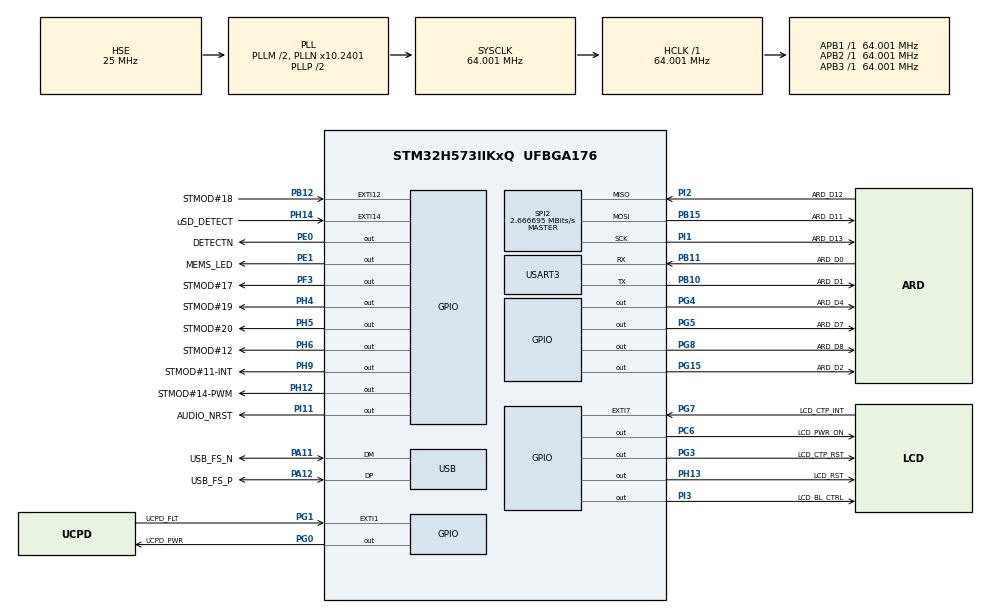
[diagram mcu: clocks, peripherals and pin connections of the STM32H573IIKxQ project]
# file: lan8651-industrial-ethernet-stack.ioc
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CORTEX_M33_NS.userName=CORTEX_M33
Mcu.Family=STM32H5
Mcu.Name=STM32H573IIKxQ
Mcu.Package=UFBGA176
NVIC.EXTI13_IRQn=true\:0\:0\:false\:false\:true\:false\:true\:true
NVIC.PriorityGroup=NVIC_PRIORITYGROUP_4
NVIC.SPI2_IRQn=true\:0\:0\:false\:false\:true\:true\:true\:true
NVIC.USART3_IRQn=true\:0\:0\:false\:false\:true\:true\:true\:true
NVIC.USB_DRD_FS_IRQn=true\:0\:0\:false\:false\:true\:true\:true\:true
PA0.GPIO_Label=ARD_A2
PA0.Signal=ADCx_INP0
PA1.GPIO_Label=RMII_REF_CLK
PA1.Signal=ETH_REF_CLK
PA10.GPIO_Label=STLK_VCP_TX
PA10.Signal=USART1_RX
PA11.GPIO_Label=USB_FS_N
PA11.Mode=Device
PA11.Signal=USB_DM
PA12.GPIO_Label=USB_FS_P
PA12.Mode=Device
PA12.Signal=USB_DP
PA13(JTMS/SWDIO).GPIO_Label=JTMS
PA13(JTMS/SWDIO).Signal=DEBUG_JTMS-SWDIO
PA14(JTCK/SWCLK).GPIO_Label=JTCK
PA14(JTCK/SWCLK).Signal=DEBUG_JTCK-SWCLK
PA15(JTDI).GPIO_Label=JTDI
PA15(JTDI).Signal=DEBUG_JTDI
PA2.GPIO_Label=RMII_MDIO
PA2.Signal=ETH_MDIO
PA3.GPIO_Label=ARD_D10
PA3.Signal=SPI2_NSS
PA4.GPIO_Label=ARD_A1
PA4.Signal=ADCx_INP18
PA5.GPIO_Label=ARD_A3
PA5.Signal=ADCx_INP19
PA6.GPIO_Label=ARD_A4
PA6.Signal=ADCx_INP3
PA7.GPIO_Label=RMII_CRS_DV
PA7.Signal=ETH_CRS_DV
PA8.GPIO_Label=ARD_D9
PA8.Signal=S_TIM1_CH1
PA9.GPIO_Label=STLK_VCP_RX
PA9.Signal=USART1_TX
PB0.GPIO_Label=ARD_A0
PB0.Signal=ADCx_INP9
PB1.GPIO_Mode=GPIO_MODE_AF_PP
PB1.GPIO_PuPd=GPIO_NOPULL
PB1.GPIO_Speed_High_Default=GPIO_SPEED_FREQ_VERY_HIGH
PB1.Signal=OCTOSPI1_IO0
PB10.GPIO_Label=ARD_D1
PB10.Mode=Asynchronous
PB10.Signal=USART3_TX
PB11.GPIO_Label=ARD_D0
PB11.Mode=Asynchronous
PB11.Signal=USART3_RX
PB12.GPIO_Label=STMOD\#18
PB12.Signal=GPXTI12
PB13.GPIO_Label=UCPD_CC1
PB13.Signal=UCPD1_CC1
PB14.GPIO_Label=UCPD_CC2
PB14.Signal=UCPD1_CC2
PB15.GPIO_Label=ARD_D11
PB15.Mode=Full_Duplex_Master
PB15.Signal=SPI2_MOSI
PB2.Signal=OCTOSPI1_DQS
PB3(JTDO/TRACESWO).GPIO_Label=SWO
PB3(JTDO/TRACESWO).Signal=DEBUG_JTDO-SWO
PB5.GPIO_Label=ARD_D3
PB5.Signal=S_TIM3_CH2
PB6.GPIO_Label=I2C1_SCL
PB6.Signal=I2C1_SCL
PB7.GPIO_Label=I2C1_SDA
PB7.Signal=I2C1_SDA
PC0.Signal=OCTOSPI1_IO7
PC1.GPIO_Label=RMII_MDC
PC1.Signal=ETH_MDC
PC10.GPIO_Label=SDIO1_D2
PC10.Signal=SDMMC1_D2
PC11.GPIO_Label=SDIO1_D3
PC11.Signal=SDMMC1_D3
PC12.GPIO_Label=SDIO1_CK
PC12.Signal=SDMMC1_CK
PC14-OSC32_IN(OSC32_IN).Signal=RCC_OSC32_IN
PC15-OSC32_OUT(OSC32_OUT).Signal=RCC_OSC32_OUT
PC2.GPIO_Mode=GPIO_MODE_AF_PP
PC2.GPIO_PuPd=GPIO_NOPULL
PC2.GPIO_Speed_High_Default=GPIO_SPEED_FREQ_VERY_HIGH
PC2.Signal=OCTOSPI1_IO2
PC3.GPIO_Label=PDM_SAI1_SD3
PC3.Signal=SAI1_D3
PC4.GPIO_Label=RMII_RXD0
PC4.Signal=ETH_RXD0
PC5.GPIO_Label=RMII_RXD1
PC5.Signal=ETH_RXD1
PC6.GPIO_Label=LCD_PWR_ON
PC6.Signal=GPIO_Output
PC7.Signal=FMC_NE1
PC8.GPIO_Label=SDIO1_D0
PC8.Signal=SDMMC1_D0
PC9.GPIO_Label=SDIO1_D1
PC9.Signal=SDMMC1_D1
PD0.GPIO_Label=LCD_D2
PD0.Signal=FMC_D2_DA2
PD1.GPIO_Label=LCD_D3
PD1.Signal=FMC_D3_DA3
PD10.GPIO_Label=LCD_D15
PD10.Signal=FMC_D15_DA15
PD11.Signal=SAI1_CK1
PD12.GPIO_Mode=GPIO_MODE_AF_PP
PD12.GPIO_PuPd=GPIO_NOPULL
PD12.GPIO_Speed_High_Default=GPIO_SPEED_FREQ_VERY_HIGH
PD12.Signal=OCTOSPI1_IO1
PD13.GPIO_Mode=GPIO_MODE_AF_PP
PD13.GPIO_PuPd=GPIO_NOPULL
PD13.GPIO_Speed_High_Default=GPIO_SPEED_FREQ_VERY_HIGH
PD13.Signal=OCTOSPI1_IO3
PD14.GPIO_Label=LCD_D0
PD14.Signal=FMC_D0_DA0
PD15.GPIO_Label=LCD_D1
PD15.Signal=FMC_D1_DA1
PD2.GPIO_Label=SDIO1_CMD
PD2.Signal=SDMMC1_CMD
PD3.GPIO_Label=LCD_TE
PD3.Signal=FMC_CLK
PD4.GPIO_Label=LCD_NOE
PD4.Signal=FMC_NOE
PD5.GPIO_Label=LCD_NWE
PD5.Signal=FMC_NWE
PD6.Signal=SAI1_SD_A
PD8.GPIO_Label=LCD_D13
PD8.Signal=FMC_D13_DA13
PD9.GPIO_Label=LCD_D14
PD9.Signal=FMC_D14_DA14
PE0.GPIO_Label=DETECTN
PE0.Signal=GPIO_Output
PE1.GPIO_Label=MEMS_LED
PE1.Signal=GPIO_Output
PE10.GPIO_Label=LCD_D7
PE10.Signal=FMC_D7_DA7
PE11.GPIO_Label=LCD_D8
PE11.Signal=FMC_D8_DA8
PE12.GPIO_Label=LCD_D9
PE12.Signal=FMC_D9_DA9
PE13.GPIO_Label=LCD_D10
PE13.Signal=FMC_D10_DA10
PE14.GPIO_Label=LCD_D11
PE14.Signal=FMC_D11_DA11
PE15.GPIO_Label=LCD_D12
PE15.Signal=FMC_D12_DA12
PE2.Signal=DEBUG_TRACECLK
PE3.GPIO_Label=TRACED0
PE3.Signal=DEBUG_TRACED0
PE4.Signal=SAI1_D2
PE5.GPIO_Label=TRACED2
PE5.Signal=DEBUG_TRACED2
PE6.GPIO_Label=TRACED3
PE6.Signal=DEBUG_TRACED3
PE7.Signal=FMC_D4_DA4
PE8.GPIO_Label=LCD_D5
PE8.Signal=FMC_D5_DA5
PE9.GPIO_Label=LCD_D6
PE9.Signal=FMC_D6_DA6
PF0.GPIO_Label=LCD_A0_RS
PF0.Signal=FMC_A0
PF10.GPIO_Mode=GPIO_MODE_AF_PP
PF10.GPIO_PuPd=GPIO_NOPULL
PF10.GPIO_Speed_High_Default=GPIO_SPEED_FREQ_VERY_HIGH
PF10.Signal=OCTOSPI1_CLK
PF11.GPIO_Label=STMOD\#13
PF11.Signal=ADC1_INP2
PF12.GPIO_Label=ARD_A5
PF12.Signal=ADC1_INP6
PF13.GPIO_Label=IBUS_SENSE
PF13.Signal=ADC2_INP2
PF14.GPIO_Label=VBUS_SENSE
PF14.Signal=ADC2_INP6
PF3.GPIO_Label=STMOD\#17
PF3.Signal=GPIO_Output
PG0.GPIO_Label=UCPD_PWR
PG0.Signal=GPIO_Output
PG1.GPIO_Label=UCPD_FLT
PG1.Signal=GPXTI1
PG10.GPIO_Label=SAI2_SD_B
PG10.Signal=SAI2_SD_B
PG11.GPIO_Label=RMII_TX_EN
PG11.Signal=ETH_TX_EN
PG12.GPIO_Label=RMII_TXD1
PG12.Signal=ETH_TXD1
PG13.GPIO_Label=RMII_TXD0
PG13.Signal=ETH_TXD0
PG14.GPIO_Label=TRACED1
PG14.Signal=DEBUG_TRACED1
PG15.GPIO_Label=ARD_D2
PG15.Signal=GPIO_Output
PG3.GPIO_Label=LCD_CTP_RST
PG3.Signal=GPIO_Output
PG4.GPIO_Label=ARD_D4
PG4.Signal=GPIO_Output
PG5.GPIO_Label=ARD_D7
PG5.Signal=GPIO_Output
PG6.GPIO_Mode=GPIO_MODE_AF_PP
PG6.GPIO_PuPd=GPIO_NOPULL
PG6.GPIO_Speed_High_Default=GPIO_SPEED_FREQ_VERY_HIGH
PG6.Signal=OCTOSPI1_NCS
PG7.GPIO_Label=LCD_CTP_INT
PG7.Signal=GPXTI7
PG8.GPIO_Label=ARD_D8
PG8.Signal=GPIO_Output
PG9.GPIO_Mode=GPIO_MODE_AF_PP
PG9.GPIO_PuPd=GPIO_NOPULL
PG9.GPIO_Speed_High_Default=GPIO_SPEED_FREQ_VERY_HIGH
PG9.Signal=OCTOSPI1_IO6
PH0-OSC_IN(PH0).Mode=HSE-DIG-External-Clock-Source
PH0-OSC_IN(PH0).Signal=RCC_OSC_IN
PH10.GPIO_Label=ARD_D6
PH10.Signal=S_TIM5_CH1
PH11.GPIO_Label=ARD_D5
PH11.Signal=S_TIM5_CH2
PH12.GPIO_Label=STMOD\#14-PWM
PH12.Signal=GPIO_Output
PH13.GPIO_Label=LCD_RST
PH13.Signal=GPIO_Output
PH14.GPIO_Label=uSD_DETECT
PH14.Signal=GPXTI14
PH2.GPIO_Mode=GPIO_MODE_AF_PP
PH2.GPIO_PuPd=GPIO_NOPULL
PH2.GPIO_Speed_High_Default=GPIO_SPEED_FREQ_VERY_HIGH
PH2.Signal=OCTOSPI1_IO4
PH3.GPIO_Mode=GPIO_MODE_AF_PP
PH3.GPIO_PuPd=GPIO_NOPULL
PH3.GPIO_Speed_High_Default=GPIO_SPEED_FREQ_VERY_HIGH
PH3.Signal=OCTOSPI1_IO5
PH4.GPIO_Label=STMOD\#19
PH4.GPIO_Speed=GPIO_SPEED_FREQ_VERY_HIGH
PH4.PinState=GPIO_PIN_SET
PH4.Signal=GPIO_Output
PH5.GPIO_Label=STMOD\#20
PH5.GPIO_Speed=GPIO_SPEED_FREQ_LOW
PH5.PinState=GPIO_PIN_SET
PH5.Signal=GPIO_Output
PH6.GPIO_Label=STMOD\#12
PH6.Signal=GPIO_Output
PH7.GPIO_Label=STMOD\#12-RST
PH7.Signal=SPI5_MISO
PH8.GPIO_Label=STMOD\#9-MISOs
PH8.Signal=SPI5_MOSI
PH9.GPIO_Label=STMOD\#11-INT
PH9.Signal=GPIO_Output
PI1.GPIO_Label=ARD_D13
PI1.Mode=Full_Duplex_Master
PI1.Signal=SPI2_SCK
PI10.GPIO_Label=RMII_RX_ER
PI10.Signal=ETH_RX_ER
PI11.GPIO_Label=AUDIO_NRST
PI11.Signal=GPIO_Output
PI2.GPIO_Label=ARD_D12
PI2.Mode=Full_Duplex_Master
PI2.Signal=SPI2_MISO
PI3.GPIO_Label=LCD_BL_CTRL
PI3.Signal=GPIO_Output
PI4.GPIO_Label=SAI2_MCLK_A
PI4.Signal=SAI2_MCLK_A
PI5.GPIO_Label=SAI2_SCK_A
PI5.Signal=SAI2_SCK_A
PI6.GPIO_Label=SAI2_SD_A
PI6.Signal=SAI2_SD_A
PI7.GPIO_Label=SAI2_FS_A
PI7.Signal=SAI2_FS_A
ProjectManager.HeapSize=0x200
ProjectManager.StackSize=0x400
ProjectManager.TargetToolchain=STM32CubeIDE
RCC.ADCFreq_Value=64000701.904296875
RCC.AHBFreq_Value=64000701.904296875
RCC.APB1Freq_Value=64000701.904296875
RCC.APB1TimFreq_Value=64000701.904296875
RCC.APB2Freq_Value=64000701.904296875
RCC.APB2TimFreq_Value=64000701.904296875
RCC.APB3Freq_Value=64000701.904296875
RCC.CSI_VALUE=4000000
RCC.CortexFreq_Value=64000701.904296875
RCC.EPOD_VALUE=25000000
RCC.HCLKFreq_Value=64000701.904296875
RCC.HSE_VALUE=25000000
RCC.HSI48_VALUE=48000000
RCC.HSIDiv=RCC_HSI_DIV1
RCC.HSI_VALUE=64000000
RCC.LSE_VALUE=32768
RCC.LSIRC_VALUE=32000
RCC.PLL1Q=3
RCC.PLL2FRACN=0
RCC.PLL2N=32
RCC.PLL2P=1
RCC.PLLFRACN=1967
RCC.PLLM=2
RCC.PLLN=10
RCC.PLLSourceVirtual=RCC_PLL1_SOURCE_HSE
RCC.SYSCLKFreq_VALUE=64000701.904296875
RCC.SYSCLKSource=RCC_SYSCLKSOURCE_PLLCLK
RCC.USBFreq_Value=48000000
RCC.VCOOutputFreq_Value=128001403.80859375
SH.ADCx_INP0.0=ADC1_INP0
SH.ADCx_INP18.0=ADC1_INP18
SH.ADCx_INP19.0=ADC1_INP19
SH.ADCx_INP3.0=ADC1_INP3
SH.ADCx_INP9.0=ADC1_INP9
SH.FMC_A0.0=FMC_A0
SH.FMC_CLK.0=FMC_CLK
SH.FMC_D0_DA0.0=FMC_D0
SH.FMC_D10_DA10.0=FMC_D10
SH.FMC_D11_DA11.0=FMC_D11
SH.FMC_D12_DA12.0=FMC_D12
SH.FMC_D13_DA13.0=FMC_D13
SH.FMC_D14_DA14.0=FMC_D14
SH.FMC_D15_DA15.0=FMC_D15
SH.FMC_D1_DA1.0=FMC_D1
SH.FMC_D2_DA2.0=FMC_D2
SH.FMC_D3_DA3.0=FMC_D3
SH.FMC_D4_DA4.0=FMC_D4
SH.FMC_D5_DA5.0=FMC_D5
SH.FMC_D6_DA6.0=FMC_D6
SH.FMC_D7_DA7.0=FMC_D7
SH.FMC_D8_DA8.0=FMC_D8
SH.FMC_D9_DA9.0=FMC_D9
SH.FMC_NOE.0=FMC_NOE
SH.FMC_NWE.0=FMC_NWE
SH.S_TIM1_CH1.0=TIM1_CH1
SH.S_TIM3_CH2.0=TIM3_CH2
SH.S_TIM5_CH1.0=TIM5_CH1
SH.S_TIM5_CH2.0=TIM5_CH2
SPI2.BaudRatePrescaler=SPI_BAUDRATEPRESCALER_16
SPI2.CalculateBaudRate=2.666695 MBits/s
SPI2.DataSize=SPI_DATASIZE_8BIT
SPI2.Direction=SPI_DIRECTION_2LINES
SPI2.Mode=SPI_MODE_MASTER
SPI2.VirtualType=VM_MASTER
STM32H573I-DK.BUTTON=1
STM32H573I-DK.LD1=true
STM32H573I-DK.LD2=true
STM32H573I-DK.LD3=true
STM32H573I-DK.LD4=true
USART3.VirtualMode-Asynchronous=VM_ASYNC
USB.VirtualMode=Device_Only
VP_BOOTPATH_VS_BOOTPATH.Mode=BP_Activate
VP_CORTEX_M33_NS_VS_Hclk.Mode=Hclk_Mode
VP_MEMORYMAP_VS_MEMORYMAP.Mode=CurAppReg
VP_PWR_VS_LPOM.Mode=PowerOptimisation
VP_PWR_VS_SECSignals.Mode=Security/Privilege
VP_STM32H573I-DK_VS_BSP_COMMON.Mode=COMMON
board=STM32H573I-DK

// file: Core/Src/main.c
/* USER CODE BEGIN Header */
/**
  ******************************************************************************
  * @file           : main.c
  * @brief          : Main program body
  ******************************************************************************
  * @attention
  *
  * Copyright (c) 2026 STMicroelectronics.
  * All rights reserved.
  *
  * This software is licensed under terms that can be found in the LICENSE file
  * in the root directory of this software component.
  * If no LICENSE file comes with this software, it is provided AS-IS.
  *
  ******************************************************************************
  */
/* USER CODE END Header */
#include "main.h"
#include "spi.h"
#include "usart.h"
#include "usb.h"
#include "gpio.h"

/* USER CODE BEGIN Includes */
#include "tc6.h"
#include "tc6_port_stm32.h"
#include <stdio.h>
#include <string.h>
#include "tc6-regs.h"
#include "tusb.h"
#include "diag_stats.h"
/* USER CODE END Includes */

/* USER CODE BEGIN PV */
TC6_t *tc6;
uint8_t tud_network_mac_address[6] = {0x02, 0x12, 0x34, 0x56, 0x78, 0x9A};

/* USER CODE END PV */

void SystemClock_Config(void);
static void Device_HardReset(void);

/* USER CODE BEGIN 0 */

void LAN8651_Reset()
{
	   HAL_GPIO_WritePin(GPIOH,GPIO_PIN_4, GPIO_PIN_SET);

	   HAL_GPIO_WritePin(GPIOH,GPIO_PIN_5, GPIO_PIN_RESET);

	   HAL_Delay(10);

	   HAL_GPIO_WritePin(GPIOH,GPIO_PIN_5, GPIO_PIN_SET);

	   HAL_Delay(50);
}

void TC6_BringUp()
{
    tc6 = TC6_Init(NULL);

    if(tc6==NULL)
    {

        while(1);
    }

    uint8_t mac[6]={0x02, 0x12, 0x34, 0x56, 0x78, 0x9A};

    TC6Regs_Init(
            tc6,
            NULL,
            mac,
            true,   // PLCA enable
            1,      // node id
            3,      // node count
            0,
            0,
            false,
			false,
			false);

}

void TinyUsb_init()
{

    tusb_rhport_init_t dev_init =
    {
        .role  = TUSB_ROLE_DEVICE,
        .speed = TUSB_SPEED_FULL
    };

    tusb_init(0, &dev_init);
}
/* USER CODE END 0 */

int main(void)
{

  /* MCU Configuration--------------------------------------------------------*/

  /* Reset of all peripherals, Initializes the Flash interface and the Systick. */
  HAL_Init();

  /* Configure the system clock */
  SystemClock_Config();

  /* Initialize all configured peripherals */
  MX_GPIO_Init();
  MX_SPI2_Init();
  MX_USART3_UART_Init();
  MX_USB_PCD_Init();

  /* Initialize leds */
  BSP_LED_Init(LED_GREEN);
  BSP_LED_Init(LED_ORANGE);
  BSP_LED_Init(LED_RED);
  BSP_LED_Init(LED_BLUE);

  /* Initialize USER push-button, will be used to trigger an interrupt each time it's pressed.*/
  BSP_PB_Init(BUTTON_USER, BUTTON_MODE_EXTI);

   /* =====================================================
      LAN8651 RESET SEQUENCE
   ===================================================== */

  LAN8651_Reset();
  /* ---------- TC6 INIT ---------- */

  TC6_BringUp();

  DIAG_Init(tc6);
  DIAG_EnableCollisionDetect(true);  // recommended when PLCA active
  DIAG_EnablePLCACounters();

  /* ---------- TinyUSB INIT ---------- */
  TinyUsb_init();

      while (1)
      {
        /* ===============================
         RUN TC6 ENGINE & TINY USB SERVICE CONTINUOUSLY
         ===============================*/
    	 tud_task();
    	 TC6_Service(tc6,false);
    	 DIAG_Task();

    	 extern bool g_diag_reinit_needed;
    	    if (g_diag_reinit_needed)
    	    {
    	        g_diag_reinit_needed = false;
    	        Device_HardReset();
    	    }

    	    /* Manual reset via HID command (CMD_HARD_RESET = 0x11) */
    	  extern bool g_hid_reset_requested;
    	    if (g_hid_reset_requested)
    	    {
    	        g_hid_reset_requested = false;
    	        Device_HardReset();
    	    }

      }
  /* USER CODE END 3 */
}

static void Device_HardReset(void)
{

    HAL_Delay(10);        // let UART finish transmitting
    NVIC_SystemReset();   // full MCU reset — equivalent to pressing NRST
}

void SystemClock_Config(void)
{
  RCC_OscInitTypeDef RCC_OscInitStruct = {0};
  RCC_ClkInitTypeDef RCC_ClkInitStruct = {0};

  /** Configure the main internal regulator output voltage
  */
  __HAL_PWR_VOLTAGESCALING_CONFIG(PWR_REGULATOR_VOLTAGE_SCALE3);

  while(!__HAL_PWR_GET_FLAG(PWR_FLAG_VOSRDY)) {}

  /** Initializes the RCC Oscillators according to the specified parameters
  * in the RCC_OscInitTypeDef structure.
  */
  RCC_OscInitStruct.OscillatorType = RCC_OSCILLATORTYPE_HSI48|RCC_OSCILLATORTYPE_HSE;
  RCC_OscInitStruct.HSEState = RCC_HSE_BYPASS_DIGITAL;
  RCC_OscInitStruct.HSI48State = RCC_HSI48_ON;
  RCC_OscInitStruct.PLL.PLLState = RCC_PLL_ON;
  RCC_OscInitStruct.PLL.PLLSource = RCC_PLL1_SOURCE_HSE;
  RCC_OscInitStruct.PLL.PLLM = 2;
  RCC_OscInitStruct.PLL.PLLN = 10;
  RCC_OscInitStruct.PLL.PLLP = 2;
  RCC_OscInitStruct.PLL.PLLQ = 3;
  RCC_OscInitStruct.PLL.PLLR = 2;
  RCC_OscInitStruct.PLL.PLLRGE = RCC_PLL1_VCIRANGE_3;
  RCC_OscInitStruct.PLL.PLLVCOSEL = RCC_PLL1_VCORANGE_WIDE;
  RCC_OscInitStruct.PLL.PLLFRACN = 1967;
  if (HAL_RCC_OscConfig(&RCC_OscInitStruct) != HAL_OK)
  {
    Error_Handler();
  }

  /** Initializes the CPU, AHB and APB buses clocks
  */
  RCC_ClkInitStruct.ClockType = RCC_CLOCKTYPE_HCLK|RCC_CLOCKTYPE_SYSCLK
                              |RCC_CLOCKTYPE_PCLK1|RCC_CLOCKTYPE_PCLK2
                              |RCC_CLOCKTYPE_PCLK3;
  RCC_ClkInitStruct.SYSCLKSource = RCC_SYSCLKSOURCE_PLLCLK;
  RCC_ClkInitStruct.AHBCLKDivider = RCC_SYSCLK_DIV1;
  RCC_ClkInitStruct.APB1CLKDivider = RCC_HCLK_DIV1;
  RCC_ClkInitStruct.APB2CLKDivider = RCC_HCLK_DIV1;
  RCC_ClkInitStruct.APB3CLKDivider = RCC_HCLK_DIV1;

  if (HAL_RCC_ClockConfig(&RCC_ClkInitStruct, FLASH_LATENCY_3) != HAL_OK)
  {
    Error_Handler();
  }

  /** Configure the programming delay
  */
  __HAL_FLASH_SET_PROGRAM_DELAY(FLASH_PROGRAMMING_DELAY_1);
}

void Error_Handler(void)
{
  __disable_irq();
  while (1)
  {
  }
}
